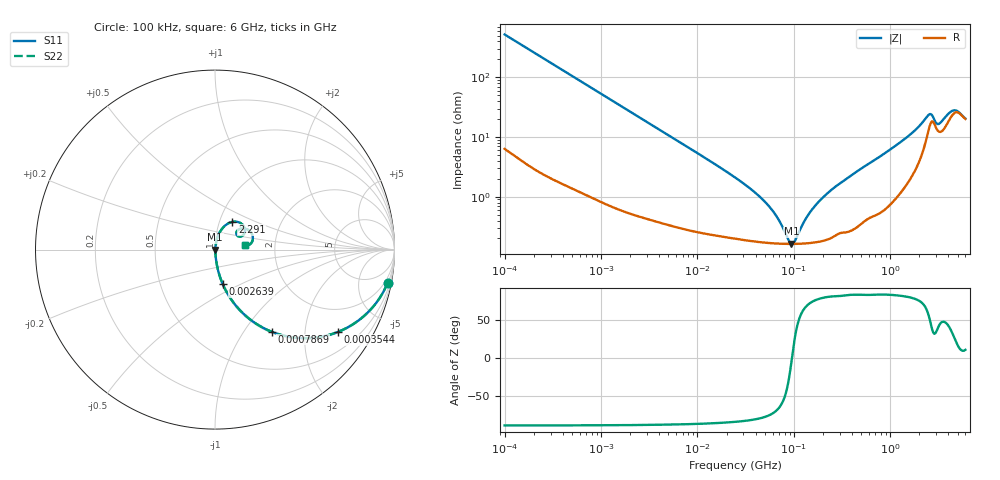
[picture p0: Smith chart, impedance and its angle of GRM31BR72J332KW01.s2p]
!Murata Part Number: GRM31BR72J332KW01
!These Parameters are Measured in Series Mode Connection
!Data Generated on Mar 30, 2021
!  o--ll--o
!Port1  Port2
!  o------o
!Operation Temp=25[degC], DC Bias Voltage=0[V]
!Freq. Start=100[kHz] Stop=6[GHz] 401[Steps]
# Hz S RI R 50
!Freq.(Hz) S11(Real) S11(Imag) S21(Real) S21(Imag) S12(Real) S12(Imag) S22(Real) S22(Imag)
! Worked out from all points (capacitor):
!   401 points, 100 kHz to 6 GHz, reference 50 ohm
!   read as one part in series: C = 3.03 nF near 105.7 kHz
!   lowest |Z| = 163 mohm at 94.28 MHz (marker M1)
!   series resonance near 95.46 MHz, so ESL is about 920 pH
!   S11 on the Smith chart (normalised r, x): 100 kHz: 1, -10; 354.4 kHz: 1.04, -2.98; 786.9 kHz: 1.02, -1.35; 2.639 MHz: 1.01, -0.41; 2.291 GHz: 1.15, +0.37; 6 GHz: 1.40, +0.07
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100000  0.9627 -0.1835  0.0373 0.1835  0.0373 0.1835  0.9627 -0.1835
198900  0.8721 -0.3285  0.1279 0.3285  0.1279 0.3285  0.8721 -0.3285
354395  0.6869 -0.4578  0.3131 0.4578  0.3131 0.4578  0.6869 -0.4578
631452  0.4141 -0.4857  0.5859 0.4857  0.5859 0.4857  0.4141 -0.4857
786871  0.315 -0.4573  0.685 0.4573  0.685 0.4573  0.315 -0.4573
1363989  0.1364 -0.335  0.8636 0.335  0.8636 0.335  0.1364 -0.335
2639368  0.0434 -0.193  0.9566 0.193  0.9566 0.193  0.0434 -0.193
3987316  0.0213 -0.1312  0.9787 0.1312  0.9787 0.1312  0.0213 -0.1312
2.517799e7  0.00238 -0.0203  0.9976 0.0203  0.9976 0.0203  0.00238 -0.0203
5.590324e7  0.00171 -0.00653  0.9983 0.00653  0.9983 0.00653  0.00171 -0.00653
6.777267e7  0.00166 -0.00407  0.9983 0.00407  0.9983 0.00407  0.00166 -0.00407
9.427557e7  0.00162 -0.000146  0.9984 0.000146  0.9984 0.000146  0.00162 -0.000146
1.023848e8  0.00162 0.000821  0.9984 -0.000821  0.9984 -0.000821  0.00162 0.000821
1.275846e8  0.00165 0.00345  0.9983 -0.00345  0.9983 -0.00345  0.00165 0.00345
1.546735e8  0.00172 0.00589  0.9983 -0.00589  0.9983 -0.00589  0.00172 0.00589
2.681165e8  0.00243 0.0144  0.9976 -0.0144  0.9976 -0.0144  0.00243 0.0144
9.76689e8  0.0106 0.059  0.9894 -0.059  0.9894 -0.059  0.0106 0.059
2.2912e9  0.0974 0.1546  0.9026 -0.1546  0.9026 -0.1546  0.0974 0.1546
2.55767e9  0.155 0.1378  0.845 -0.1378  0.845 -0.1378  0.155 0.1378
3.187187e9  0.1184 0.0878  0.8816 -0.0878  0.8816 -0.0878  0.1184 0.0878
4.557193e9  0.2075 0.0833  0.7925 -0.0833  0.7925 -0.0833  0.2075 0.0833
6e9  0.1682 0.0259  0.8318 -0.0259  0.8318 -0.0259  0.1682 0.0259
